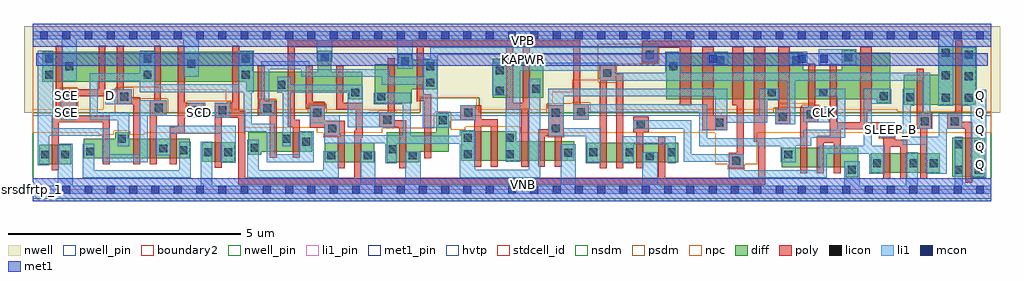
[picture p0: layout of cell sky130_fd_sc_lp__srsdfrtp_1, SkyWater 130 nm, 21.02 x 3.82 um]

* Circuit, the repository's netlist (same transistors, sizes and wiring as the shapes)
* Copyright 2020 The SkyWater PDK Authors
*
* Licensed under the Apache License, Version 2.0 (the "License");
* you may not use this file except in compliance with the License.
* You may obtain a copy of the License at
*
*     https://www.apache.org/licenses/LICENSE-2.0
*
* Unless required by applicable law or agreed to in writing, software
* distributed under the License is distributed on an "AS IS" BASIS,
* WITHOUT WARRANTIES OR CONDITIONS OF ANY KIND, either express or implied.
* See the License for the specific language governing permissions and
* limitations under the License.
*
* SPDX-License-Identifier: Apache-2.0

.SUBCKT sky130_fd_sc_lp__srsdfrtp_1 CLK D RESET_B SCD SCE SLEEP_B KAPWR VGND VNB VPB VPWR Q
*.PININFO CLK:I D:I RESET_B:I SCD:I SCE:I SLEEP_B:I KAPWR:I VGND:I
*.PININFO VNB:I VPB:I VPWR:I Q:O
MI673 net061 net062 net096 VNB sky130_fd_pr__nfet_01v8 m=1 w=0.42U l=0.15U mult=1
+ sa=0.265 sb=0.265 sd=0.28 area=0.063 perim=1.14
MI675 sleep SLEEP_B net0102 VNB sky130_fd_pr__nfet_01v8 m=1 w=0.42U l=0.15U mult=1
+ sa=0.265 sb=0.265 sd=0.28 area=0.063 perim=1.14
MI642 clkneg CLK net0123 VNB sky130_fd_pr__nfet_01v8 m=1 w=0.42U l=0.15U mult=1
+ sa=0.265 sb=0.265 sd=0.28 area=0.063 perim=1.14
MI636 clkpos clkneg VGND VNB sky130_fd_pr__nfet_01v8 m=1 w=0.42U l=0.15U mult=1
+ sa=0.265 sb=0.265 sd=0.28 area=0.063 perim=1.14
MI674 net062 s0 net079 VNB sky130_fd_pr__nfet_01v8 m=1 w=0.42U l=0.15U mult=1 sa=0.265
+ sb=0.265 sd=0.28 area=0.063 perim=1.14
MI678 net048 sleep VGND VNB sky130_fd_pr__nfet_01v8 m=1 w=0.42U l=0.15U mult=1
+ sa=0.265 sb=0.265 sd=0.28 area=0.063 perim=1.14
MI42 db clkneg M0 VNB sky130_fd_pr__nfet_01v8 m=1 w=0.42U l=0.15U mult=1 sa=0.265
+ sb=0.265 sd=0.28 area=0.063 perim=1.14
MI656 net079 s0 net048 VNB sky130_fd_pr__nfet_01v8 m=1 w=0.42U l=0.15U mult=1 sa=0.265
+ sb=0.265 sd=0.28 area=0.063 perim=1.14
MI657 net048 RESET_B VGND VNB sky130_fd_pr__nfet_01v8 m=1 w=0.42U l=0.15U mult=1
+ sa=0.265 sb=0.265 sd=0.28 area=0.063 perim=1.14
MI33 net069 RESET_B VGND VNB sky130_fd_pr__nfet_01v8 m=1 w=0.42U l=0.15U mult=1
+ sa=0.265 sb=0.265 sd=0.28 area=0.063 perim=1.14
MI634 sceb SCE VGND VNB sky130_fd_pr__nfet_01v8 m=1 w=0.42U l=0.15U mult=1 sa=0.265
+ sb=0.265 sd=0.28 area=0.063 perim=1.14
MI4 M0 clkpos net077 VNB sky130_fd_pr__nfet_01v8 m=1 w=0.42U l=0.15U mult=1 sa=0.265
+ sb=0.265 sd=0.28 area=0.063 perim=1.14
MI34 net077 M1 net069 VNB sky130_fd_pr__nfet_01v8 m=1 w=0.42U l=0.15U mult=1 sa=0.265
+ sb=0.265 sd=0.28 area=0.063 perim=1.14
MI655 s0 clkneg net061 VNB sky130_fd_pr__nfet_01v8 m=1 w=0.42U l=0.15U mult=1 sa=0.265
+ sb=0.265 sd=0.28 area=0.063 perim=1.14
MI652 net041 s0 VGND VNB sky130_fd_pr__nfet_01v8 m=1 w=0.42U l=0.15U mult=1 sa=0.265
+ sb=0.265 sd=0.28 area=0.063 perim=1.14
MI653 Q net041 VGND VNB sky130_fd_pr__nfet_01v8 m=1 w=0.84U l=0.15U mult=1 sa=0.265
+ sb=0.265 sd=0.28 area=0.063 perim=1.14
MI654 net096 net062 VGND VNB sky130_fd_pr__nfet_01v8 m=1 w=0.42U l=0.15U mult=1
+ sa=0.265 sb=0.265 sd=0.28 area=0.063 perim=1.14
MI647 M1 M0 VGND VNB sky130_fd_pr__nfet_01v8 m=1 w=0.64U l=0.15U mult=1 sa=0.265
+ sb=0.265 sd=0.28 area=0.063 perim=1.14
MI649 net084 clkpos s0 VNB sky130_fd_pr__nfet_01v8 m=1 w=0.64U l=0.15U mult=1 sa=0.265
+ sb=0.265 sd=0.28 area=0.063 perim=1.14
MI671 net0115 SLEEP_B VGND VNB sky130_fd_pr__nfet_01v8 m=1 w=0.42U l=0.15U mult=1
+ sa=0.265 sb=0.265 sd=0.28 area=0.063 perim=1.14
MI670 net0123 SLEEP_B net0115 VNB sky130_fd_pr__nfet_01v8 m=1 w=0.42U l=0.15U mult=1
+ sa=0.265 sb=0.265 sd=0.28 area=0.063 perim=1.14
MI676 net0102 SLEEP_B VGND VNB sky130_fd_pr__nfet_01v8 m=1 w=0.42U l=0.15U mult=1
+ sa=0.265 sb=0.265 sd=0.28 area=0.063 perim=1.14
MI682 M1 clkpos net084 VNB sky130_fd_pr__nfet_01v8 m=1 w=0.64U l=0.15U mult=1 sa=0.265
+ sb=0.265 sd=0.28 area=0.063 perim=1.14
MI666 net84 RESET_B VGND VNB sky130_fd_pr__nfet_01v8 m=1 w=0.42U l=0.15U mult=1
+ sa=0.265 sb=0.265 sd=0.28 area=0.525 perim=3.1
MI98 db D n0 VNB sky130_fd_pr__nfet_01v8 m=1 w=0.42U l=0.15U mult=1 sa=0.265 sb=0.265
+ sd=0.28 area=0.525 perim=3.1
MI103 n1 SCD net84 VNB sky130_fd_pr__nfet_01v8 m=1 w=0.42U l=0.15U mult=1 sa=0.265
+ sb=0.265 sd=0.28 area=0.525 perim=3.1
MI120 db SCE n1 VNB sky130_fd_pr__nfet_01v8 m=1 w=0.42U l=0.15U mult=1 sa=0.265
+ sb=0.265 sd=0.28 area=0.525 perim=3.1
MI104 n0 sceb net84 VNB sky130_fd_pr__nfet_01v8 m=1 w=0.42U l=0.15U mult=1 sa=0.265
+ sb=0.265 sd=0.28 area=0.525 perim=3.1
MI643 clkneg CLK KAPWR VPB sky130_fd_pr__pfet_01v8_hvt m=1 w=0.64U l=0.15U mult=1
+ sa=0.265 sb=0.265 sd=0.28 area=0.063 perim=1.14
MI681 M1 clkneg net0217 VPB sky130_fd_pr__pfet_01v8_hvt m=1 w=0.84U l=0.15U mult=1
+ sa=0.265 sb=0.265 sd=0.28 area=0.063 perim=1.14
MI679 net062 RESET_B net0198 VPB sky130_fd_pr__pfet_01v8_hvt m=1 w=1.0U l=0.25U mult=1
+ sa=0.265 sb=0.265 sd=0.28 area=0.063 perim=1.14
MI635 clkpos clkneg VPWR VPB sky130_fd_pr__pfet_01v8_hvt m=1 w=0.64U l=0.15U mult=1
+ sa=0.265 sb=0.265 sd=0.28 area=0.063 perim=1.14
MI43 db clkpos M0 VPB sky130_fd_pr__pfet_01v8_hvt m=1 w=0.42U l=0.15U mult=1 sa=0.265
+ sb=0.265 sd=0.28 area=0.063 perim=1.14
MI662 net0133 net062 KAPWR VPB sky130_fd_pr__pfet_01v8_hvt m=1 w=1.0U l=0.25U mult=1
+ sa=0.265 sb=0.265 sd=0.28 area=0.063 perim=1.14
MI664 s0 clkpos net0133 VPB sky130_fd_pr__pfet_01v8_hvt m=1 w=1.0U l=0.25U mult=1
+ sa=0.265 sb=0.265 sd=0.28 area=0.063 perim=1.14
MI658 net062 s0 KAPWR VPB sky130_fd_pr__pfet_01v8_hvt m=1 w=1.0U l=0.25U mult=1
+ sa=0.265 sb=0.265 sd=0.28 area=0.063 perim=1.14
MI30 net0156 M1 VPWR VPB sky130_fd_pr__pfet_01v8_hvt m=1 w=0.42U l=0.15U mult=1
+ sa=0.265 sb=0.265 sd=0.28 area=0.063 perim=1.14
MI31 M0 clkneg net0156 VPB sky130_fd_pr__pfet_01v8_hvt m=1 w=0.42U l=0.15U mult=1
+ sa=0.265 sb=0.265 sd=0.28 area=0.063 perim=1.14
MI32 M0 RESET_B VPWR VPB sky130_fd_pr__pfet_01v8_hvt m=1 w=0.42U l=0.15U mult=1
+ sa=0.265 sb=0.265 sd=0.28 area=0.063 perim=1.14
MI663 net041 s0 VPWR VPB sky130_fd_pr__pfet_01v8_hvt m=1 w=0.64U l=0.15U mult=1
+ sa=0.265 sb=0.265 sd=0.28 area=0.063 perim=1.14
MI660 Q net041 VPWR VPB sky130_fd_pr__pfet_01v8_hvt m=1 w=1.26U l=0.15U mult=1
+ sa=0.265 sb=0.265 sd=0.28 area=0.063 perim=1.14
MI648 M1 M0 VPWR VPB sky130_fd_pr__pfet_01v8_hvt m=1 w=0.84U l=0.15U mult=1 sa=0.265
+ sb=0.265 sd=0.28 area=0.063 perim=1.14
MI650 net0217 clkneg s0 VPB sky130_fd_pr__pfet_01v8_hvt m=1 w=0.84U l=0.15U mult=1
+ sa=0.265 sb=0.265 sd=0.28 area=0.063 perim=1.14
MI633 sceb SCE VPWR VPB sky130_fd_pr__pfet_01v8_hvt m=1 w=0.64U l=0.15U mult=1
+ sa=0.265 sb=0.265 sd=0.28 area=0.063 perim=1.14
MI672 clkneg SLEEP_B KAPWR VPB sky130_fd_pr__pfet_01v8_hvt m=1 w=0.64U l=0.15U mult=1
+ sa=0.265 sb=0.265 sd=0.28 area=0.063 perim=1.14
MI680 net0198 sleep KAPWR VPB sky130_fd_pr__pfet_01v8_hvt m=1 w=1.0U l=0.25U mult=1
+ sa=0.265 sb=0.265 sd=0.28 area=0.063 perim=1.14
MI677 sleep SLEEP_B KAPWR VPB sky130_fd_pr__pfet_01v8_hvt m=1 w=1.0U l=0.25U mult=1
+ sa=0.265 sb=0.265 sd=0.28 area=0.063 perim=1.14
MI101 db sceb p1 VPB sky130_fd_pr__pfet_01v8_hvt m=1 w=0.64U l=0.15U mult=1 sa=0.265
+ sb=0.265 sd=0.28 area=0.063 perim=1.14
MI107 p0 SCE VPWR VPB sky130_fd_pr__pfet_01v8_hvt m=1 w=0.64U l=0.15U mult=1 sa=0.265
+ sb=0.265 sd=0.28 area=0.063 perim=1.14
MI94 db D p0 VPB sky130_fd_pr__pfet_01v8_hvt m=1 w=0.64U l=0.15U mult=1 sa=0.265
+ sb=0.265 sd=0.28 area=0.063 perim=1.14
MI108 p1 SCD VPWR VPB sky130_fd_pr__pfet_01v8_hvt m=1 w=0.64U l=0.15U mult=1 sa=0.265
+ sb=0.265 sd=0.28 area=0.063 perim=1.14
MI665 db RESET_B VPWR VPB sky130_fd_pr__pfet_01v8_hvt m=1 w=0.64U l=0.15U mult=1
+ sa=0.265 sb=0.265 sd=0.28 area=0.063 perim=1.14
.ENDS sky130_fd_sc_lp__srsdfrtp_1

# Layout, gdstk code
import gdstk
lib = gdstk.Library(unit=1e-6, precision=1e-09)
def R(c, l, rs):  # rectangles x0, y0, x1, y1
    for r in rs: c.add(gdstk.rectangle(r[:2], r[2:], *l))
def A(c, l, x, y, w, h, nx, ny, dx, dy):  # array of equal rectangles
    R(c, l, [(x+i*dx, y+j*dy, x+i*dx+w, y+j*dy+h) for i in range(nx) for j in range(ny)])
def P(c, l, *ps):  # polygons
    for p in ps: c.add(gdstk.Polygon(p, *l))
nwell_pin = (64, 16)
nwell = (64, 20)
diff = (65, 20)
poly = (66, 20)
licon = (66, 44)
li1_pin = (67, 16)
li1 = (67, 20)
mcon = (67, 44)
met1_pin = (68, 16)
met1 = (68, 20)
hvtp = (78, 44)
stdcell_id = (81, 4)
nsdm = (93, 44)
psdm = (94, 20)
npc = (95, 20)
pwell_pin = (122, 16)
boundary2 = (236, 0)

sky130_fd_sc_lp__srsdfrt = lib.new_cell('sky130_fd_sc_lp__srsdfrtp_1')
R(sky130_fd_sc_lp__srsdfrt, nwell_pin, [(0,3.085,20.64,3.33)])
P(sky130_fd_sc_lp__srsdfrt, nwell, [(20.83,3.52),(-0.19,3.52),(-0.19,1.655),(8.34,1.655),(8.34,1.985),(9.61,1.985),(9.61,1.655),(20.83,1.655)])
R(sky130_fd_sc_lp__srsdfrt, diff, [(19.805,0.285,20.505,1.125), (18.045,0.365,19.535,0.785), (0.135,0.55,0.83,0.97), (6.29,0.595,7.35,1.015), (11.935,0.595,13.905,1.015), (3.645,0.6,4.345,1.02), (9.91,1.985,10.99,2.825)])
P(sky130_fd_sc_lp__srsdfrt, diff, [(3.375,1.1),(2.05,1.1),(2.05,1.245),(1.77,1.245),(1.77,1.1),(1.1,1.1),(1.1,0.68),(3.375,0.68)],
  [(6.02,1.245),(4.645,1.245),(4.645,0.76),(4.925,0.76),(4.925,0.825),(6.02,0.825)],
  [(7.09,2.54),(6.43,2.54),(6.43,3),(6.14,3),(6.14,2.54),(4.735,2.54),(4.735,2.97),(0.205,2.97),(0.205,2.33),(4.595,2.33),(4.595,2.12),(6.8,2.12),(6.8,1.95),(7.09,1.95)],
  [(8.705,2.805),(8.16,2.805),(8.16,2.915),(7.87,2.915),(7.87,2.705),(7.36,2.705),(7.36,1.865),(8.16,1.865),(8.16,2.165),(8.705,2.165)],
  [(8.96,1.645),(8.69,1.645),(8.69,1.235),(7.62,1.235),(7.62,0.595),(8.32,0.595),(8.32,0.815),(8.96,0.815)],
  [(11.665,1.045),(10.41,1.045),(10.41,1.265),(9.23,1.265),(9.23,0.625),(11.665,0.625)],
  [(17.775,0.905),(16.125,0.905),(16.125,0.485),(17.505,0.485),(17.505,0.27),(17.775,0.27)],
  [(18.47,2.95),(17.71,2.95),(17.71,3.005),(17.42,3.005),(17.42,2.59),(16.59,2.59),(16.59,2.95),(13.645,2.95),(13.645,1.95),(18.18,1.95),(18.18,1.87),(18.47,1.87)],
  [(20.305,3.095),(19.515,3.095),(19.515,2.475),(18.755,2.475),(18.755,1.835),(20.305,1.835)])
P(sky130_fd_sc_lp__srsdfrt, poly, [(1.66,1.6),(0.95,1.6),(0.95,2.02),(1.565,2.02),(1.565,3.1),(1.415,3.1),(1.415,2.17),(0.64,2.17),(0.64,3.1),(0.49,3.1),(0.49,1.6),(0.41,1.6),(0.41,0.42),(0.56,0.42),(0.56,1.45),(1.51,1.45),(1.51,0.55),(1.66,0.55)],
  [(2.31,1.99),(2.135,1.99),(2.135,2.17),(1.955,2.17),(1.955,3.1),(1.805,3.1),(1.805,1.84),(2.16,1.84),(2.16,0.55),(2.31,0.55)],
  [(2.88,1.93),(2.76,1.93),(2.76,3.1),(2.61,3.1),(2.61,1.93),(2.52,1.93),(2.52,0.55),(2.67,0.55),(2.67,1.6),(2.88,1.6)],
  [(3.68,1.88),(3.27,1.88),(3.27,3.1),(3.12,3.1),(3.12,1.36),(2.95,1.36),(2.95,0.55),(3.1,0.55),(3.1,1.21),(3.27,1.21),(3.27,1.55),(3.68,1.55)],
  [(5.25,1.92),(4.995,1.92),(4.995,2.67),(4.845,2.67),(4.845,1.59),(5.1,1.59),(5.1,0.695),(5.25,0.695)],
  [(6.715,1.485),(6.29,1.485),(6.29,1.895),(6.03,1.895),(6.03,2.67),(5.88,2.67),(5.88,1.745),(5.96,1.745),(5.96,1.335),(6.28,1.335),(6.28,1.155),(6.565,1.155),(6.565,0.465),(6.715,0.465)],
  [(8.045,1.495),(7.795,1.495),(7.795,2.835),(7.645,2.835),(7.645,1.675),(7.465,1.675),(7.465,1.345),(7.895,1.345),(7.895,0.465),(8.045,0.465)],
  [(10.015,1.515),(9.655,1.515),(9.655,1.825),(9.21,1.825),(9.21,1.495),(9.505,1.495),(9.505,0.495),(9.655,0.495),(9.655,1.365),(9.865,1.365),(9.865,0.495),(10.015,0.495)],
  [(11.43,1.825),(11.1,1.825),(11.1,1.305),(10.88,1.305),(10.88,0.495),(11.03,0.495),(11.03,1.155),(11.24,1.155),(11.24,0.495),(11.39,0.495),(11.39,1.155),(11.43,1.155)],
  [(11.97,1.84),(11.79,1.84),(11.79,3.225),(10.555,3.225),(10.555,1.875),(10.345,1.875),(10.345,3.075),(10.555,3.075),(10.555,3.225),(5.49,3.225),(5.49,1.355),(5.6,1.355),(5.6,0.695),(5.75,0.695),(5.75,1.505),(5.64,1.505),(5.64,3.075),(8.27,3.075),(8.27,1.905),(8.43,1.905),(8.43,0.685),(8.58,0.685),(8.58,2.055),(8.42,2.055),(8.42,3.075),(10.195,3.075),(10.195,1.725),(10.52,1.725),(10.52,0.495),(10.67,0.495),(10.67,1.725),(10.705,1.725),(10.705,3.075),(11.64,3.075),(11.64,1.51),(11.97,1.51)],
  [(12.72,2.5),(12.54,2.5),(12.54,2.68),(12.21,2.68),(12.21,0.465),(12.36,0.465),(12.36,2.35),(12.57,2.35),(12.57,0.465),(12.72,0.465)],
  [(13.26,1.575),(12.93,1.575),(12.93,1.245),(13,1.245),(13,0.465),(13.15,0.465),(13.15,1.245),(13.26,1.245)],
  [(14.18,3.21),(13.125,3.21),(13.125,2.745),(13.455,2.745),(13.455,3.06),(13.93,3.06),(13.93,1.82),(14.18,1.82)],
  [(14.955,1.61),(14.67,1.61),(14.67,3.08),(14.42,3.08),(14.42,1.28),(14.955,1.28)],
  [(15.315,3.08),(15.065,3.08),(15.065,1.82),(15.165,1.82),(15.165,0.795),(14.985,0.795),(14.985,0.465),(15.315,0.465)],
  [(15.775,3.08),(15.525,3.08),(15.525,1.035),(15.625,1.035),(15.625,0.255),(13.62,0.255),(13.62,1.145),(13.47,1.145),(13.47,0.255),(7.075,0.255),(7.075,1.125),(7.105,1.125),(7.105,1.875),(6.69,1.875),(6.69,2.67),(6.54,2.67),(6.54,1.725),(6.955,1.725),(6.955,1.275),(6.925,1.275),(6.925,0.255),(4.57,0.255),(4.57,1.7),(4.45,1.7),(4.45,3.1),(4.3,3.1),(4.3,1.88),(3.92,1.88),(3.92,0.47),(4.07,0.47),(4.07,1.55),(4.42,1.55),(4.42,0.105),(15.775,0.105)],
  [(16.315,1.74),(16.305,1.74),(16.305,3.08),(16.055,3.08),(16.055,1.74),(15.985,1.74),(15.985,1.41),(16.315,1.41)],
  [(16.92,1.79),(16.85,1.79),(16.85,2.72),(16.7,2.72),(16.7,1.79),(16.525,1.79),(16.525,0.355),(16.675,0.355),(16.675,1.46),(16.92,1.46)],
  [(18.83,1.075),(18.565,1.075),(18.565,1.45),(17.97,1.45),(17.97,1.69),(18.07,1.69),(18.07,3.08),(17.82,3.08),(17.82,1.45),(17.31,1.45),(17.31,2.72),(17.16,2.72),(17.16,1.165),(16.885,1.165),(16.885,0.355),(17.035,0.355),(17.035,1.015),(17.245,1.015),(17.245,0.355),(17.395,0.355),(17.395,1.3),(18.235,1.3),(18.235,1.12),(18.32,1.12),(18.32,0.235),(18.47,0.235),(18.47,0.925),(18.68,0.925),(18.68,0.235),(18.83,0.235)],
  [(19.375,1.645),(19.19,1.645),(19.19,2.605),(19.04,2.605),(19.04,1.315),(19.11,1.315),(19.11,0.235),(19.26,0.235),(19.26,1.315),(19.375,1.315)],
  [(20.23,1.465),(20.02,1.465),(20.02,3.225),(19.87,3.225),(19.87,1.645),(19.69,1.645),(19.69,1.315),(20.08,1.315),(20.08,0.155),(20.23,0.155)])
A(sky130_fd_sc_lp__srsdfrt, licon, 19.575, 1.895, 0.17, 0.17, 1, 3, 0, 0.485)
A(sky130_fd_sc_lp__srsdfrt, licon, 20.075, 1.895, 0.17, 0.17, 1, 3, 0, 0.465)
A(sky130_fd_sc_lp__srsdfrt, licon, 0.265, 2.39, 0.17, 0.17, 3, 2, 2.12, 0.35)
R(sky130_fd_sc_lp__srsdfrt, licon, [(17.555,0.345,17.725,0.515), (19.855,0.345,20.025,0.515), (20.285,0.345,20.455,0.515), (18.095,0.49,18.265,0.66), (18.885,0.49,19.055,0.66), (19.315,0.49,19.485,0.66), (15.065,0.545,15.235,0.715), (13.205,0.64,13.375,0.81), (8.1,0.655,8.27,0.825), (6.34,0.66,6.51,0.83), (7.13,0.66,7.3,0.83), (0.185,0.675,0.355,0.845), (0.615,0.675,0.785,0.845), (16.185,0.675,16.355,0.845), (9.28,0.685,9.45,0.855), (10.19,0.685,10.36,0.855), (11.445,0.71,11.615,0.88), (11.985,0.72,12.155,0.89), (12.775,0.72,12.945,0.89), (13.675,0.72,13.845,0.89), (3.695,0.725,3.865,0.895), (4.125,0.725,4.295,0.895), (1.15,0.74,1.32,0.91), (3.155,0.765,3.325,0.935), (7.67,0.79,7.84,0.96), (2.725,0.805,2.895,0.975), (4.695,0.825,4.865,0.995), (19.855,0.895,20.025,1.065), (20.285,0.895,20.455,1.065), (5.805,0.95,5.975,1.12), (1.83,1.015,2,1.185), (5.375,1.015,5.545,1.185), (9.28,1.035,9.45,1.205), (10.19,1.035,10.36,1.205), (18.315,1.2,18.485,1.37), (6.36,1.235,6.53,1.405), (11.18,1.235,11.35,1.405), (13.01,1.325,13.18,1.495), (14.705,1.36,14.875,1.53), (19.125,1.395,19.295,1.565), (19.77,1.395,19.94,1.565), (8.74,1.415,8.91,1.585), (7.545,1.425,7.715,1.595), (16.065,1.49,16.235,1.66), (16.67,1.54,16.84,1.71), (6.04,1.575,6.21,1.745), (9.29,1.575,9.46,1.745), (11.18,1.575,11.35,1.745), (0.685,1.58,0.855,1.75), (11.72,1.59,11.89,1.76), (3.43,1.63,3.6,1.8), (4,1.63,4.17,1.8), (4.965,1.67,5.135,1.84), (2.63,1.68,2.8,1.85), (18.815,1.91,18.985,2.08), (0.685,1.92,0.855,2.09), (1.885,1.92,2.055,2.09), (7.42,1.925,7.59,2.095), (18.24,1.93,18.41,2.1), (6.86,2.01,7.03,2.18), (15.83,2.01,16,2.18), (16.935,2.01,17.105,2.18), (9.97,2.045,10.14,2.215), (10.76,2.095,10.93,2.265), (5.265,2.18,5.435,2.35), (8.475,2.225,8.645,2.395), (12.29,2.43,12.46,2.6), (9.97,2.485,10.14,2.655), (8.475,2.575,8.645,2.745), (13.705,2.575,13.875,2.745), (0.7,2.58,0.87,2.75), (3.325,2.63,3.495,2.8), (7.93,2.685,8.1,2.855), (14.725,2.705,14.895,2.875), (16.36,2.705,16.53,2.875), (6.2,2.77,6.37,2.94), (17.48,2.77,17.65,2.94), (13.205,2.825,13.375,2.995)])
A(sky130_fd_sc_lp__srsdfrt, li1_pin, 20.315, 0.47, 0.17, 0.17, 1, 5, 0, 0.37)
R(sky130_fd_sc_lp__srsdfrt, li1_pin, [(18.395,1.21,18.565,1.38), (0.635,1.58,0.805,1.75), (3.515,1.58,3.685,1.75), (3.995,1.58,4.165,1.75), (16.955,1.58,17.125,1.75), (0.635,1.95,0.805,2.12), (1.595,1.95,1.765,2.12)])
R(sky130_fd_sc_lp__srsdfrt, li1, [(18.235,1.12,18.565,1.45), (16.59,1.46,17.155,1.79), (0.605,1.5,0.935,2.17), (3.35,1.55,3.715,1.88), (3.92,1.55,4.25,1.88), (1.565,1.84,2.135,2.17), (14.525,2.69,14.975,2.97), (16.28,2.69,16.675,2.97), (16.925,2.69,17.73,3.025)])
P(sky130_fd_sc_lp__srsdfrt, li1, [(2.88,1.93),(2.305,1.93),(2.305,0.765),(1.66,0.765),(1.66,1.33),(0.435,1.33),(0.435,2.99),(0.105,2.99),(0.105,0.53),(0.355,0.53),(0.355,1.16),(1.49,1.16),(1.49,0.595),(2.475,0.595),(2.475,1.6),(2.88,1.6)],
  [(3.405,1.04),(3.155,1.04),(3.155,0.425),(1.32,0.425),(1.32,0.99),(1.07,0.99),(1.07,0.255),(3.405,0.255)],
  [(4.375,1.38),(2.645,1.38),(2.645,0.74),(2.975,0.74),(2.975,1.21),(4.045,1.21),(4.045,0.58),(4.375,0.58)],
  [(6.055,1.265),(5.725,1.265),(5.725,0.765),(5.205,0.765),(5.205,1.42),(4.715,1.42),(4.715,2.1),(4.755,2.1),(4.755,2.99),(4.425,2.99),(4.425,2.27),(2.635,2.27),(2.635,2.99),(2.305,2.99),(2.305,2.51),(1.225,2.51),(1.225,1.5),(1.83,1.5),(1.83,0.935),(2.08,0.935),(2.08,1.67),(1.395,1.67),(1.395,2.34),(2.305,2.34),(2.305,2.1),(4.545,2.1),(4.545,1.25),(5.035,1.25),(5.035,0.595),(6.055,0.595)],
  [(6.59,0.835),(6.26,0.835),(6.26,0.425),(4.865,0.425),(4.865,1.08),(4.615,1.08),(4.615,0.255),(6.59,0.255)],
  [(7.795,1.675),(7.11,1.675),(7.11,2.26),(5.555,2.26),(5.555,2.43),(5.265,2.43),(5.265,2.09),(5.385,2.09),(5.385,1.265),(5.375,1.265),(5.375,0.935),(5.555,0.935),(5.555,2.09),(6.78,2.09),(6.78,1.345),(7.795,1.345)],
  [(10.93,2.395),(10.68,2.395),(10.68,0.435),(9.53,0.435),(9.53,1.285),(9.2,1.285),(9.2,1.165),(8.135,1.165),(8.135,2.095),(7.34,2.095),(7.34,1.845),(7.965,1.845),(7.965,1.175),(6.61,1.175),(6.61,1.605),(6.29,1.605),(6.29,1.825),(5.96,1.825),(5.96,1.435),(6.28,1.435),(6.28,1.005),(7.59,1.005),(7.59,0.575),(7.84,0.575),(7.84,0.995),(9.2,0.995),(9.2,0.265),(10.93,0.265)],
  [(13.455,3.075),(8.555,3.075),(8.555,2.825),(8.395,2.825),(8.395,2.435),(7.68,2.435),(7.68,2.6),(5.95,2.6),(5.95,2.77),(4.925,2.77),(4.925,1.92),(4.885,1.92),(4.885,1.59),(5.215,1.59),(5.215,1.92),(5.095,1.92),(5.095,2.6),(5.78,2.6),(5.78,2.43),(7.51,2.43),(7.51,2.265),(8.395,2.265),(8.395,1.335),(8.99,1.335),(8.99,1.495),(9.54,1.495),(9.54,1.825),(9.21,1.825),(9.21,1.665),(8.725,1.665),(8.725,2.905),(13.125,2.905),(13.125,2.745),(13.455,2.745)],
  [(13.845,1.15),(12.695,1.15),(12.695,0.575),(12.945,0.575),(12.945,0.98),(13.675,0.98),(13.675,0.575),(13.845,0.575)],
  [(16.08,2.18),(15.645,2.18),(15.645,1.61),(14.955,1.61),(14.955,2.18),(11.1,2.18),(11.1,1.155),(11.905,1.155),(11.905,0.575),(12.235,0.575),(12.235,1.325),(11.43,1.325),(11.43,2.01),(14.695,2.01),(14.695,1.28),(14.955,1.28),(14.955,1.44),(15.815,1.44),(15.815,1.93),(16.08,1.93)],
  [(17.495,2.18),(16.855,2.18),(16.855,2.01),(17.325,2.01),(17.325,1.29),(16.59,1.29),(16.59,1.12),(16.105,1.12),(16.105,1.11),(14.525,1.11),(14.525,1.84),(11.64,1.84),(11.64,1.51),(11.97,1.51),(11.97,1.67),(14.355,1.67),(14.355,0.94),(16.105,0.94),(16.105,0.595),(16.435,0.595),(16.435,0.95),(16.76,0.95),(16.76,1.12),(17.495,1.12)],
  [(18.49,2.18),(17.895,2.18),(17.895,0.95),(16.93,0.95),(16.93,0.425),(15.315,0.425),(15.315,0.77),(14.185,0.77),(14.185,1.5),(12.93,1.5),(12.93,1.32),(14.015,1.32),(14.015,0.6),(14.985,0.6),(14.985,0.255),(17.1,0.255),(17.1,0.78),(18.015,0.78),(18.015,0.345),(18.345,0.345),(18.345,0.95),(18.065,0.95),(18.065,1.85),(18.49,1.85)],
  [(19.345,1.645),(19.325,1.645),(19.325,2.52),(13.955,2.52),(13.955,2.97),(13.625,2.97),(13.625,2.52),(12.54,2.52),(12.54,2.735),(9.89,2.735),(9.89,2.04),(10.19,2.04),(10.19,0.605),(10.5,0.605),(10.5,2.565),(12.21,2.565),(12.21,2.35),(16.25,2.35),(16.25,1.74),(15.985,1.74),(15.985,1.41),(16.42,1.41),(16.42,2.35),(19.155,2.35),(19.155,1.645),(19.075,1.645),(19.075,1.315),(19.345,1.315)],
  [(20.02,1.645),(19.515,1.645),(19.515,1.145),(18.905,1.145),(18.905,1.815),(18.985,1.815),(18.985,2.18),(18.735,2.18),(18.735,0.975),(19.235,0.975),(19.235,0.345),(19.685,0.345),(19.685,1.315),(20.02,1.315)],
  [(20.535,2.15),(20.325,2.15),(20.325,3.075),(19.995,3.075),(19.995,1.815),(20.205,1.815),(20.205,0.265),(20.535,0.265)],
  [(20.64,3.415),(0,3.415),(0,3.245),(0.62,3.245),(0.62,2.34),(0.95,2.34),(0.95,3.245),(3.245,3.245),(3.245,2.44),(3.575,2.44),(3.575,3.245),(6.12,3.245),(6.12,2.77),(6.45,2.77),(6.45,3.245),(7.85,3.245),(7.85,2.605),(8.18,2.605),(8.18,3.245),(19.495,3.245),(19.495,1.815),(19.825,1.815),(19.825,3.245),(20.64,3.245)],
  [(20.64,0.085),(20.025,0.085),(20.025,1.145),(19.855,1.145),(19.855,0.085),(19.055,0.085),(19.055,0.805),(18.805,0.805),(18.805,0.085),(17.805,0.085),(17.805,0.61),(17.475,0.61),(17.475,0.085),(13.455,0.085),(13.455,0.81),(13.125,0.81),(13.125,0.085),(11.695,0.085),(11.695,0.985),(11.365,0.985),(11.365,0.085),(8.35,0.085),(8.35,0.825),(8.02,0.825),(8.02,0.085),(7.38,0.085),(7.38,0.835),(7.05,0.835),(7.05,0.085),(3.865,0.085),(3.865,1.04),(3.615,1.04),(3.615,0.085),(0.865,0.085),(0.865,0.99),(0.535,0.99),(0.535,0.085),(0,0.085),(0,-0.085),(20.64,-0.085)])
A(sky130_fd_sc_lp__srsdfrt, mcon, 0.155, -0.085, 0.17, 0.17, 43, 2, 0.48, 3.33)
R(sky130_fd_sc_lp__srsdfrt, mcon, [(14.555,2.735,14.725,2.905), (16.475,2.735,16.645,2.905), (16.955,2.735,17.125,2.905)])
R(sky130_fd_sc_lp__srsdfrt, met1_pin, [(0,0,20.64,0.245), (0.07,2.675,20.57,2.945), (0,3.085,20.64,3.33)])
R(sky130_fd_sc_lp__srsdfrt, met1, [(0,-0.245,20.64,0.245), (0.07,2.675,20.57,2.945), (0,3.085,20.64,3.575)])
R(sky130_fd_sc_lp__srsdfrt, hvtp, [(0,1.6,20.64,3.33)])
R(sky130_fd_sc_lp__srsdfrt, stdcell_id, [(0,0,20.64,3.33)])
P(sky130_fd_sc_lp__srsdfrt, nsdm, [(20.64,1.655),(9.61,1.655),(9.61,1.985),(8.34,1.985),(8.34,1.655),(0,1.655),(0,-0.19),(20.64,-0.19)])
P(sky130_fd_sc_lp__srsdfrt, psdm, [(20.64,3.52),(13.485,3.52),(13.485,2.71),(12.57,2.71),(12.57,2.32),(12.18,2.32),(12.18,3.14),(13.485,3.14),(13.485,3.52),(0,3.52),(0,1.655),(0.575,1.655),(0.575,2.2),(0.965,2.2),(0.965,1.655),(1.775,1.655),(1.775,2.2),(2.165,2.2),(2.165,1.96),(2.91,1.96),(2.91,1.655),(3.32,1.655),(3.32,1.91),(4.28,1.91),(4.28,1.655),(4.855,1.655),(4.855,1.95),(5.245,1.95),(5.245,1.655),(5.93,1.655),(5.93,1.855),(6.32,1.855),(6.32,1.655),(7.435,1.655),(7.435,1.705),(7.825,1.705),(7.825,1.655),(8.34,1.655),(8.34,1.985),(9.61,1.985),(9.61,1.655),(11.07,1.655),(11.07,1.855),(11.61,1.855),(11.61,1.87),(12,1.87),(12,1.655),(15.955,1.655),(15.955,1.77),(16.56,1.77),(16.56,1.82),(16.95,1.82),(16.95,1.655),(19.015,1.655),(19.015,1.675),(20.05,1.675),(20.05,1.655),(20.64,1.655)])
R(sky130_fd_sc_lp__srsdfrt, npc, [(13.105,2.725,13.475,3.155)])
P(sky130_fd_sc_lp__srsdfrt, npc, [(20.64,1.695),(18.615,1.695),(18.615,1.73),(16.94,1.73),(16.94,1.81),(16.835,1.81),(16.835,1.86),(16.07,1.86),(16.07,1.76),(15.965,1.76),(15.965,1.73),(12.56,1.73),(12.56,2.7),(12.19,2.7),(12.19,2.375),(11.62,2.375),(11.62,2.11),(11.185,2.11),(11.185,1.845),(11.08,1.845),(11.08,1.73),(9.56,1.73),(9.56,1.995),(8.335,1.995),(8.335,1.73),(8.3,1.73),(8.3,1.725),(7.22,1.725),(7.22,1.73),(6.31,1.73),(6.31,1.845),(5.94,1.845),(5.94,1.73),(5.235,1.73),(5.235,1.94),(4.865,1.94),(4.865,1.73),(4.27,1.73),(4.27,1.9),(4.165,1.9),(4.165,2.165),(2.795,2.165),(2.795,2.215),(1.89,2.215),(1.89,2.19),(1.785,2.19),(1.785,2.085),(1.52,2.085),(1.52,1.73),(0.955,1.73),(0.955,2.19),(0.585,2.19),(0.585,1.73),(0,1.73),(0,1.23),(1.415,1.23),(1.415,1.19),(1.74,1.19),(1.74,1.275),(2.09,1.275),(2.09,1.19),(2.405,1.19),(2.405,1.23),(4.555,1.23),(4.555,1.335),(6.11,1.335),(6.11,1.23),(6.26,1.23),(6.26,1.135),(6.63,1.135),(6.63,1.23),(7.53,1.23),(7.53,1.325),(8.65,1.325),(8.65,1.675),(9,1.675),(9,1.295),(9.315,1.295),(9.315,1.355),(10.5,1.355),(10.5,1.23),(11.08,1.23),(11.08,1.135),(11.45,1.135),(11.45,1.23),(12.91,1.23),(12.91,1.225),(13.28,1.225),(13.28,1.23),(14.7,1.23),(14.7,0.55),(14.965,0.55),(14.965,0.445),(15.335,0.445),(15.335,0.55),(15.6,0.55),(15.6,1.23),(18.215,1.23),(18.215,1.1),(18.585,1.1),(18.585,1.23),(20.64,1.23)])
R(sky130_fd_sc_lp__srsdfrt, pwell_pin, [(0,0,20.64,0.245)])
R(sky130_fd_sc_lp__srsdfrt, boundary2, [(0,0,20.64,3.33)])
sky130_fd_sc_lp__srsdfrt.add(gdstk.Label('VNB', (10.56,0.123), layer=64, texttype=59))
sky130_fd_sc_lp__srsdfrt.add(gdstk.Label('VPB', (10.56,3.208), layer=64, texttype=5))
sky130_fd_sc_lp__srsdfrt.add(gdstk.Label('srsdfrtp_1', (0,0), layer=83, texttype=44))
sky130_fd_sc_lp__srsdfrt.add(gdstk.Label('KAPWR', (10.56,2.81), layer=68, texttype=5))
sky130_fd_sc_lp__srsdfrt.add(gdstk.Label('VPWR', (10.56,3.208), layer=68, texttype=5))
sky130_fd_sc_lp__srsdfrt.add(gdstk.Label('VGND', (10.08,0.123), layer=68, texttype=5))
sky130_fd_sc_lp__srsdfrt.add(gdstk.Label('SLEEP_B', (18.48,1.295), layer=67, texttype=5))
sky130_fd_sc_lp__srsdfrt.add(gdstk.Label('CLK', (17.04,1.665), layer=67, texttype=5))
sky130_fd_sc_lp__srsdfrt.add(gdstk.Label('SCD', (3.6,1.665), layer=67, texttype=5))
sky130_fd_sc_lp__srsdfrt.add(gdstk.Label('D', (1.68,2.035), layer=67, texttype=5))
sky130_fd_sc_lp__srsdfrt.add(gdstk.Label('SCE', (0.72,1.665), layer=67, texttype=5))
sky130_fd_sc_lp__srsdfrt.add(gdstk.Label('SCE', (0.72,2.035), layer=67, texttype=5))
sky130_fd_sc_lp__srsdfrt.add(gdstk.Label('RESET_B', (4.08,1.665), layer=67, texttype=5))
sky130_fd_sc_lp__srsdfrt.add(gdstk.Label('Q', (20.4,0.555), layer=67, texttype=5))
sky130_fd_sc_lp__srsdfrt.add(gdstk.Label('Q', (20.4,0.925), layer=67, texttype=5))
sky130_fd_sc_lp__srsdfrt.add(gdstk.Label('Q', (20.4,1.295), layer=67, texttype=5))
sky130_fd_sc_lp__srsdfrt.add(gdstk.Label('Q', (20.4,1.665), layer=67, texttype=5))
sky130_fd_sc_lp__srsdfrt.add(gdstk.Label('Q', (20.4,2.035), layer=67, texttype=5))

lib.write_gds('sky130_fd_sc_lp__srsdfrtp_1.gds')
